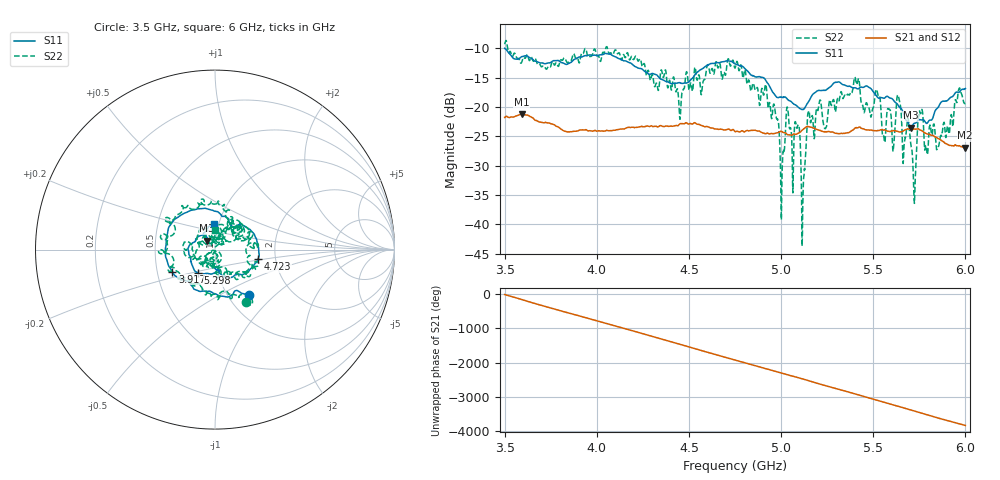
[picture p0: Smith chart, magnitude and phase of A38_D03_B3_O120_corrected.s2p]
! Created with skrf 1.9.0 (http://scikit-rf.org).
# Hz S RI R 50.0
!freq ReS11 ImS11 ReS21 ImS21 ReS12 ImS12 ReS22 ImS22
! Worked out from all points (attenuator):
!   1601 points, 3.5 GHz to 6 GHz, reference 50 ohm
!   highest |S21| = -21.28 dB at 3.592 GHz (marker M1); lowest = -27.0 dB at 5.998 GHz (marker M2)
!   lowest |S11| = -23.5 dB at 5.703 GHz (marker M3), VSWR 1.14, Z = 45.6 + j4.62 ohm
!   |S11| at or under -10 dB: 3.5 GHz to end of sweep
!   |S22| runs from -43.7 to -8.7 dB; largest |S21 - S12| = 0.0011
!   S11 on the Smith chart (normalised r, x): 3.5 GHz: 1.25, -0.70; 3.917 GHz: 0.60, -0.16; 4.723 GHz: 1.62, -0.19; 5.298 GHz: 0.80, -0.21; 6 GHz: 0.95, +0.28
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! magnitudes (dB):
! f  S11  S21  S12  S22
! 3.5 GHz  -10.0  -21.8  -21.8  -9.3
! 3.592 GHz  -11.4  -21.3  -21.3  -12.4
! 3.917 GHz  -11.5  -23.9  -23.9  -10.9
! 4.334 GHz  -14.8  -23.4  -23.3  -17.2
! 4.723 GHz  -12.2  -23.9  -23.9  -12.9
! 4.75 GHz  -12.7  -24.2  -24.1  -13.4
! 4.969 GHz  -18.0  -24.5  -24.4  -21.0
! 5.006 GHz  -18.4  -24.2  -24.2  -30.3
! 5.034 GHz  -18.7  -24.7  -24.6  -20.1
! 5.088 GHz  -19.9  -24.6  -24.6  -23.6
! 5.119 GHz  -20.4  -23.8  -23.8  -35.4
! 5.145 GHz  -19.3  -23.3  -23.3  -21.1
! 5.167 GHz  -18.1  -23.5  -23.4  -21.6
! 5.298 GHz  -15.8  -24.5  -24.4  -20.2
! 5.409 GHz  -16.8  -23.6  -23.5  -16.0
! 5.584 GHz  -18.3  -24.1  -24.1  -20.3
! 5.703 GHz  -23.5  -23.8  -23.8  -26.1
! 5.723 GHz  -22.8  -23.8  -23.7  -36.4
! 5.756 GHz  -22.2  -23.9  -23.9  -21.1
! 5.852 GHz  -20.1  -25.4  -25.3  -26.9
! 5.998 GHz  -16.9  -27.0  -26.9  -19.5
! 6 GHz  -16.9  -27.0  -26.9  -19.4
